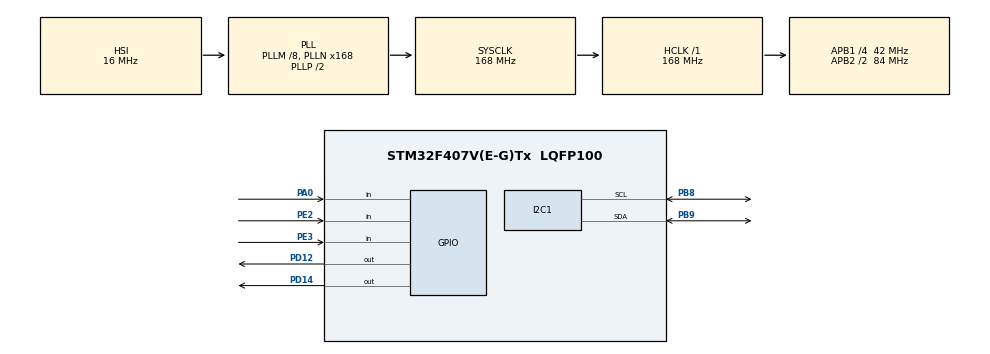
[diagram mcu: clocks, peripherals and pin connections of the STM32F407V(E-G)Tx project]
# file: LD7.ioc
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I2C1.I2C_Mode=I2C_Fast
Mcu.Family=STM32F4
Mcu.Name=STM32F407V(E-G)Tx
Mcu.Package=LQFP100
NVIC.PriorityGroup=NVIC_PRIORITYGROUP_4
PA0-WKUP.Signal=GPIO_Input
PA13.Mode=Serial_Wire
PA13.Signal=SYS_JTMS-SWDIO
PA14.Mode=Serial_Wire
PA14.Signal=SYS_JTCK-SWCLK
PB8.Mode=I2C
PB8.Signal=I2C1_SCL
PB9.Mode=I2C
PB9.Signal=I2C1_SDA
PD12.Signal=GPIO_Output
PD14.Signal=GPIO_Output
PE2.GPIO_PuPd=GPIO_PULLUP
PE2.Signal=GPIO_Input
PE3.GPIO_PuPd=GPIO_PULLUP
PE3.Signal=GPIO_Input
PH0-OSC_IN.Mode=HSE-External-Oscillator
PH0-OSC_IN.Signal=RCC_OSC_IN
PH1-OSC_OUT.Mode=HSE-External-Oscillator
PH1-OSC_OUT.Signal=RCC_OSC_OUT
ProjectManager.HeapSize=0x200
ProjectManager.StackSize=0x400
ProjectManager.TargetToolchain=STM32CubeIDE
RCC.48MHZClocksFreq_Value=84000000
RCC.AHBFreq_Value=168000000
RCC.APB1CLKDivider=RCC_HCLK_DIV4
RCC.APB1Freq_Value=42000000
RCC.APB1TimFreq_Value=84000000
RCC.APB2CLKDivider=RCC_HCLK_DIV2
RCC.APB2Freq_Value=84000000
RCC.APB2TimFreq_Value=168000000
RCC.CortexFreq_Value=168000000
RCC.HCLKFreq_Value=168000000
RCC.HSE_VALUE=25000000
RCC.HSI_VALUE=16000000
RCC.LSE_VALUE=32768
RCC.PLLM=8
RCC.PLLN=168
RCC.SYSCLKFreq_VALUE=168000000
RCC.SYSCLKSource=RCC_SYSCLKSOURCE_PLLCLK
RCC.VCOOutputFreq_Value=336000000
TIM3.Prescaler=8399
VP_TIM3_VS_ClockSourceINT.Mode=Internal
board=custom

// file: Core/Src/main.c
/* USER CODE BEGIN Header */
/**
  ******************************************************************************
  * @file           : main.c
  * @brief          : Main program body
  ******************************************************************************
  * @attention
  *
  * Copyright (c) 2026 STMicroelectronics.
  * All rights reserved.
  *
  * This software is licensed under terms that can be found in the LICENSE file
  * in the root directory of this software component.
  * If no LICENSE file comes with this software, it is provided AS-IS.
  *
  ******************************************************************************
  */
/* USER CODE END Header */
#include "main.h"

/* USER CODE BEGIN Includes */
#include "ssd1306.h"
#include "ssd1306_fonts.h"
/* USER CODE END Includes */

I2C_HandleTypeDef hi2c1;

TIM_HandleTypeDef htim3;

void SystemClock_Config(void);
static void MX_GPIO_Init(void);
static void MX_I2C1_Init(void);
static void MX_TIM3_Init(void);

/* USER CODE BEGIN 0 */
#include <stdlib.h> // rand() funkcijai
#include <stdio.h>  // sprintf() funkcijai

// Žaidimo būsenos
typedef enum { MENU, PLAYING, GAME_OVER } GameState;
GameState state = MENU;

// Gaudyklės (Player) kintamieji
int player_x = 54;       // Pradinė pozicija ekrano viduryje (128/2 - 20/2)
const int player_w = 20; // Gaudyklės plotis pikseliais
const int player_y = 58; // Gaudyklės Y pozicija (ekrano apačia)

// Krentančio objekto (Baito) kintamieji
int obj_x = 60;
int obj_y = 10;

// Statistika
int score = 0;
int lives = 3;

// Laikmačiai polling'ui ir debounce'ui
uint32_t last_fall_time = 0;
uint32_t last_btn_time = 0;

// Vėliavėlė (flag), nurodanti, ar reikia perpiešti ekraną
uint8_t needs_redraw = 1;

// Funkcija naujam objektui ekrano viršuje sukurti
void Spawn_Object() {
    // Atsitiktinė X pozicija nuo 0 iki (128 - raidės plotis)
    obj_x = rand() % 118;
    obj_y = 10; // Pradeda kristi po rezultatų juosta
}

// Funkcija žaidimui atstatyti
void Reset_Game() {
    score = 0;
    lives = 3;
    player_x = 54;
    Spawn_Object();
    state = PLAYING;
    needs_redraw = 1;
}
/* USER CODE END 0 */

int main(void)
{

  /* MCU Configuration--------------------------------------------------------*/

  /* Reset of all peripherals, Initializes the Flash interface and the Systick. */
  HAL_Init();

  /* Configure the system clock */
  SystemClock_Config();

  /* Initialize all configured peripherals */
  MX_GPIO_Init();
  MX_I2C1_Init();
  MX_TIM3_Init();
  /* USER CODE BEGIN 2 */
  ssd1306_Init(); // Paleidžiame ekraną
  // Galime inicijuoti atsitiktinių skaičių generatorių pagal sistemos laiką
  srand(HAL_GetTick());
  /* USER CODE END 2 */

  /* Infinite loop */
  /* USER CODE BEGIN WHILE */
    while (1)
    {
        // 1. START / STOP / PAUSE (PA0 Mygtukas)
        if (HAL_GPIO_ReadPin(GPIOA, GPIO_PIN_0) == GPIO_PIN_SET && (HAL_GetTick() - last_btn_time > 200)) {
            if (state == MENU || state == GAME_OVER) {
                Reset_Game(); // Pradedame iš naujo
            } else if (state == PLAYING) {
                state = MENU; // Pauzė
                needs_redraw = 1;
            }
            last_btn_time = HAL_GetTick();
        }

        // 2. ŽAIDIMO LOGIKA (vyksta tik kai būsena PLAYING)
        if (state == PLAYING) {

            // LEFT (PE2 Mygtukas - aktyvus LOW dėl Pull-up)
            if (HAL_GPIO_ReadPin(GPIOE, GPIO_PIN_2) == GPIO_PIN_RESET && (HAL_GetTick() - last_btn_time > 50)) {
                if (player_x > 0) player_x -= 5; // Judam kairėn
                needs_redraw = 1;
                last_btn_time = HAL_GetTick();
            }

            // RIGHT (PE3 Mygtukas - aktyvus LOW dėl Pull-up)
            if (HAL_GPIO_ReadPin(GPIOE, GPIO_PIN_3) == GPIO_PIN_RESET && (HAL_GetTick() - last_btn_time > 50)) {
                if (player_x < (128 - player_w)) player_x += 5; // Judam dešinėn
                needs_redraw = 1;
                last_btn_time = HAL_GetTick();
            }

            // Objekto kritimas kas 150 ms (Pagal užduoties reikalavimą)
            if (HAL_GetTick() - last_fall_time > 150) {
                obj_y += 3; // Objektas slenka žemyn

                // Susidūrimo detekcija (kai objektas pasiekia gaudyklės aukštį)
                if (obj_y >= player_y - 8) {
                    // Tikriname X ašį: ar objektas (Baitas) pataikė į gaudyklės rėžius
                    if (obj_x >= (player_x - 5) && obj_x <= (player_x + player_w)) {
                        score++; // Pagavome!
                        HAL_GPIO_TogglePin(GPIOD, GPIO_PIN_12); // Sumirksim žaliu LED (Sėkmė)
                    } else {
                        lives--; // Praleidome!
                        HAL_GPIO_TogglePin(GPIOD, GPIO_PIN_14); // Sumirksim raudonu LED (Klaida)
                        if (lives <= 0) {
                            state = GAME_OVER;
                        }
                    }
                    Spawn_Object(); // Sukuriame naują krentantį objektą
                }
                needs_redraw = 1;
                last_fall_time = HAL_GetTick();
            }
        }

        // 3. EKRANO ATNAUJINIMAS (Piešiama TIK tada, kai pasikeičia būsena)
        if (needs_redraw) {
            ssd1306_Fill(Black); // Išvalome seną kadrą
            char buf[32]; // Buferis tekstui

            if (state == MENU) {
                ssd1306_SetCursor(15, 25);
                ssd1306_WriteString("PA0 to START", Font_7x10, White);
            }
            else if (state == GAME_OVER) {
                ssd1306_SetCursor(25, 15);
                ssd1306_WriteString("GAME OVER!", Font_7x10, White);
                sprintf(buf, "Score: %d", score);
                ssd1306_SetCursor(35, 40);
                ssd1306_WriteString(buf, Font_7x10, White);
            }
            else if (state == PLAYING) {
                // Statuso juosta viršuje (Score ir Lives)
                sprintf(buf, "Score:%d  Lives:%d", score, lives);
                ssd1306_SetCursor(0, 0);
                ssd1306_WriteString(buf, Font_7x10, White);

                // Gaudyklės piešimas pikseliais (storas blokas)
                for (int i = 0; i < 4; i++) {
                	for (int p = 0; p < player_w; p++) {
                		ssd1306_DrawPixel(player_x + p, player_y + i, White);
                	}
                }

                // Krentantis objektas (Simbolis 'B' - Baitas)
                ssd1306_SetCursor(obj_x, obj_y);
                ssd1306_WriteString("B", Font_7x10, White);
            }

            ssd1306_UpdateScreen(); // Išsiunčiame suformuotą kadrą į ekraną
            needs_redraw = 0; // Nuleidžiame vėliavėlę
        }
      /* USER CODE END WHILE */

  }
}

void SystemClock_Config(void)
{
  RCC_OscInitTypeDef RCC_OscInitStruct = {0};
  RCC_ClkInitTypeDef RCC_ClkInitStruct = {0};

  /** Configure the main internal regulator output voltage
  */
  __HAL_RCC_PWR_CLK_ENABLE();
  __HAL_PWR_VOLTAGESCALING_CONFIG(PWR_REGULATOR_VOLTAGE_SCALE1);

  /** Initializes the RCC Oscillators according to the specified parameters
  * in the RCC_OscInitTypeDef structure.
  */
  RCC_OscInitStruct.OscillatorType = RCC_OSCILLATORTYPE_HSI;
  RCC_OscInitStruct.HSIState = RCC_HSI_ON;
  RCC_OscInitStruct.HSICalibrationValue = RCC_HSICALIBRATION_DEFAULT;
  RCC_OscInitStruct.PLL.PLLState = RCC_PLL_ON;
  RCC_OscInitStruct.PLL.PLLSource = RCC_PLLSOURCE_HSI;
  RCC_OscInitStruct.PLL.PLLM = 8;
  RCC_OscInitStruct.PLL.PLLN = 168;
  RCC_OscInitStruct.PLL.PLLP = RCC_PLLP_DIV2;
  RCC_OscInitStruct.PLL.PLLQ = 4;
  if (HAL_RCC_OscConfig(&RCC_OscInitStruct) != HAL_OK)
  {
    Error_Handler();
  }

  /** Initializes the CPU, AHB and APB buses clocks
  */
  RCC_ClkInitStruct.ClockType = RCC_CLOCKTYPE_HCLK|RCC_CLOCKTYPE_SYSCLK
                              |RCC_CLOCKTYPE_PCLK1|RCC_CLOCKTYPE_PCLK2;
  RCC_ClkInitStruct.SYSCLKSource = RCC_SYSCLKSOURCE_PLLCLK;
  RCC_ClkInitStruct.AHBCLKDivider = RCC_SYSCLK_DIV1;
  RCC_ClkInitStruct.APB1CLKDivider = RCC_HCLK_DIV4;
  RCC_ClkInitStruct.APB2CLKDivider = RCC_HCLK_DIV2;

  if (HAL_RCC_ClockConfig(&RCC_ClkInitStruct, FLASH_LATENCY_5) != HAL_OK)
  {
    Error_Handler();
  }
}

static void MX_I2C1_Init(void)
{

  hi2c1.Instance = I2C1;
  hi2c1.Init.ClockSpeed = 400000;
  hi2c1.Init.DutyCycle = I2C_DUTYCYCLE_2;
  hi2c1.Init.OwnAddress1 = 0;
  hi2c1.Init.AddressingMode = I2C_ADDRESSINGMODE_7BIT;
  hi2c1.Init.DualAddressMode = I2C_DUALADDRESS_DISABLE;
  hi2c1.Init.OwnAddress2 = 0;
  hi2c1.Init.GeneralCallMode = I2C_GENERALCALL_DISABLE;
  hi2c1.Init.NoStretchMode = I2C_NOSTRETCH_DISABLE;
  if (HAL_I2C_Init(&hi2c1) != HAL_OK)
  {
    Error_Handler();
  }

}

static void MX_TIM3_Init(void)
{

  TIM_ClockConfigTypeDef sClockSourceConfig = {0};
  TIM_MasterConfigTypeDef sMasterConfig = {0};

  htim3.Instance = TIM3;
  htim3.Init.Prescaler = 8399;
  htim3.Init.CounterMode = TIM_COUNTERMODE_UP;
  htim3.Init.Period = 65535;
  htim3.Init.ClockDivision = TIM_CLOCKDIVISION_DIV1;
  htim3.Init.AutoReloadPreload = TIM_AUTORELOAD_PRELOAD_DISABLE;
  if (HAL_TIM_Base_Init(&htim3) != HAL_OK)
  {
    Error_Handler();
  }
  sClockSourceConfig.ClockSource = TIM_CLOCKSOURCE_INTERNAL;
  if (HAL_TIM_ConfigClockSource(&htim3, &sClockSourceConfig) != HAL_OK)
  {
    Error_Handler();
  }
  sMasterConfig.MasterOutputTrigger = TIM_TRGO_RESET;
  sMasterConfig.MasterSlaveMode = TIM_MASTERSLAVEMODE_DISABLE;
  if (HAL_TIMEx_MasterConfigSynchronization(&htim3, &sMasterConfig) != HAL_OK)
  {
    Error_Handler();
  }

}

static void MX_GPIO_Init(void)
{
  GPIO_InitTypeDef GPIO_InitStruct = {0};

  /* GPIO Ports Clock Enable */
  __HAL_RCC_GPIOE_CLK_ENABLE();
  __HAL_RCC_GPIOH_CLK_ENABLE();
  __HAL_RCC_GPIOA_CLK_ENABLE();
  __HAL_RCC_GPIOD_CLK_ENABLE();
  __HAL_RCC_GPIOB_CLK_ENABLE();

  /*Configure GPIO pin Output Level */
  HAL_GPIO_WritePin(GPIOD, GPIO_PIN_12|GPIO_PIN_14, GPIO_PIN_RESET);

  /*Configure GPIO pins : PE2 PE3 */
  GPIO_InitStruct.Pin = GPIO_PIN_2|GPIO_PIN_3;
  GPIO_InitStruct.Mode = GPIO_MODE_INPUT;
  GPIO_InitStruct.Pull = GPIO_PULLUP;
  HAL_GPIO_Init(GPIOE, &GPIO_InitStruct);

  /*Configure GPIO pin : PA0 */
  GPIO_InitStruct.Pin = GPIO_PIN_0;
  GPIO_InitStruct.Mode = GPIO_MODE_INPUT;
  GPIO_InitStruct.Pull = GPIO_NOPULL;
  HAL_GPIO_Init(GPIOA, &GPIO_InitStruct);

  /*Configure GPIO pins : PD12 PD14 */
  GPIO_InitStruct.Pin = GPIO_PIN_12|GPIO_PIN_14;
  GPIO_InitStruct.Mode = GPIO_MODE_OUTPUT_PP;
  GPIO_InitStruct.Pull = GPIO_NOPULL;
  GPIO_InitStruct.Speed = GPIO_SPEED_FREQ_LOW;
  HAL_GPIO_Init(GPIOD, &GPIO_InitStruct);

}

void Error_Handler(void)
{
  __disable_irq();
  while (1)
  {
  }
}
